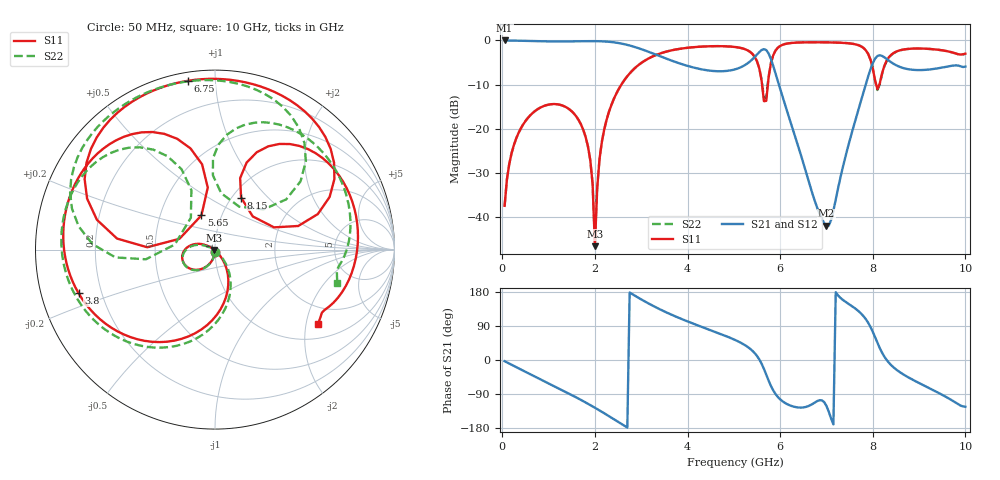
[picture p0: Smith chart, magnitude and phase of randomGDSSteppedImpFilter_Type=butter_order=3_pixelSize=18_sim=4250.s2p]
! freq	dB(S11)	phase(S11)	dB(S12)	phase(S12)
!  dB(S21)	phase(S21)	dB(S22)	phase(S22)
!S-par simulation data
#  GHz  S  DB  R 50
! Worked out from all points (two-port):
!   200 points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, 50 MHz to 10 GHz, reference 50 ohm
!   highest |S21| = -0.01 dB at 50 MHz (marker M1); lowest = -42.0 dB at 7 GHz (marker M2)
!   |S21| within 3 dB of the highest: start of sweep to 3.267 GHz; 5.517 GHz to 5.753 GHz (236 MHz wide, 4.19 % of centre)
!   lowest |S11| = -46.6 dB at 2 GHz (marker M3), VSWR 1.01, Z = 49.6 - j0.254 ohm
!   |S11| at or under -10 dB: start of sweep to 2.572 GHz; 5.609 GHz to 5.735 GHz (126.1 MHz wide, 2.22 % of centre); 8.073 GHz to 8.141 GHz (68.11 MHz wide, 0.84 % of centre)
!   |S22| runs from -45.3 to -0.4 dB; largest |S21 - S12| = 0
!   S11 on the Smith chart (normalised r, x): 50 MHz: 1.00, -0.03; 3.8 GHz: 0.11, -0.15; 5.65 GHz: 0.80, +0.32; 6.75 GHz: 0.04, +0.85; 8.15 GHz: 1.10, +0.71; 10 GHz: 1.42, -2.35
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0.05  -37.44 -92.9  -0.01 -3.2  -0.01 -3.2  -37.44 -92.8
0.25  -23.70 -106.0  -0.04 -15.7  -0.04 -15.7  -23.70 -105.5
0.65  -16.49 -131.4  -0.15 -40.3  -0.15 -40.3  -16.49 -130.2
1.75  -20.28 160.6  -0.17 -108.7  -0.17 -108.7  -20.29 164.0
1.9  -27.12 152.7  -0.16 -118.9  -0.16 -118.9  -27.14 157.2
2  -46.58 -146.9  -0.16 -126.0  -0.16 -126.0  -45.31 -139.5
2.1  -26.83 -50.6  -0.18 -133.1  -0.18 -133.1  -26.76 -48.2
2.3  -16.28 -62.4  -0.31 -147.9  -0.31 -147.9  -16.26 -58.8
3.4  -2.99 -140.0  -3.55 134.0  -3.55 134.0  -2.98 -133.8
3.8  -1.96 -162.3  -5.10 111.8  -5.10 111.8  -1.95 -155.0
5.05  -1.52 137.9  -6.48 51.6  -6.48 51.6  -1.52 148.8
5.45  -3.71 108.8  -3.75 18.2  -3.75 18.2  -3.68 121.7
5.65  -13.76 111.6  -1.97 -23.5  -1.97 -23.5  -13.05 127.2
5.95  -1.66 151.6  -9.21 -97.5  -9.21 -97.5  -1.63 164.0
6.7  -0.42 101.4  -34.80 -115.9  -34.80 -115.9  -0.41 117.2
6.75  -0.42 99.0  -36.40 -112.0  -36.40 -112.0  -0.41 115.0
7  -0.44 87.1  -41.97 -121.2  -41.97 -121.2  -0.43 104.0
7.8  -1.72 36.1  -11.70 115.6  -11.70 115.6  -1.68 55.5
8.15  -9.78 63.4  -3.36 31.7  -3.36 31.7  -10.01 83.7
8.35  -3.78 62.7  -4.59 -7.4  -4.59 -7.4  -3.86 84.3
9.1  -1.85 13.4  -6.69 -67.0  -6.69 -67.0  -1.86 35.9
10  -3.00 -35.7  -5.94 -123.5  -5.94 -123.5  -3.03 -15.2
